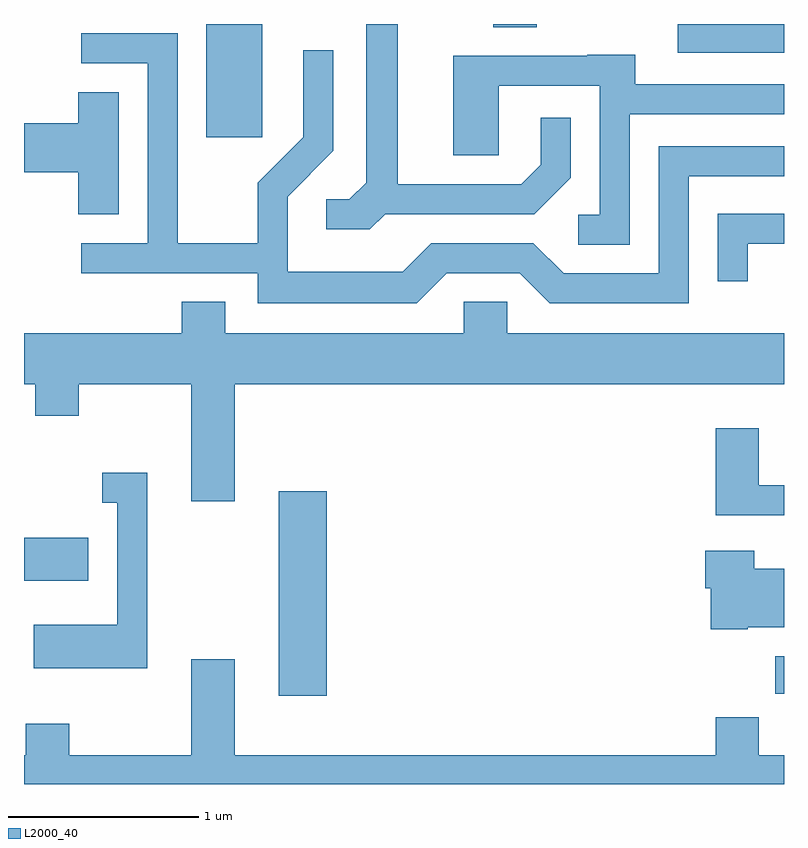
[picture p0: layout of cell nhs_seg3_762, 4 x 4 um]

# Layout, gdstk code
import gdstk
lib = gdstk.Library(unit=1e-6, precision=1e-09)
def R(c, l, rs):  # rectangles x0, y0, x1, y1
    for r in rs: c.add(gdstk.rectangle(r[:2], r[2:], *l))
def P(c, l, *ps):  # polygons
    for p in ps: c.add(gdstk.Polygon(p, *l))
L2000_40 = (2000, 40)

nhs_seg3_762 = lib.new_cell('nhs_seg3_762')
R(nhs_seg3_762, L2000_40, [(208.951,1144.356,209.204,1145.434), (211.566,1144.366,211.611,1144.564), (207.611,1144.961,207.949,1145.189), (208.571,1147.296,208.864,1147.892), (211.051,1147.741,211.611,1147.892), (210.081,1147.876,210.309,1147.892)])
P(nhs_seg3_762, L2000_40, [(209.512,1146.891),(210.297,1146.891),(210.489,1147.084),(210.489,1147.398),(210.331,1147.398),(210.331,1147.152),(210.229,1147.049),(209.579,1147.049),(209.579,1147.892),(209.411,1147.892),(209.411,1147.057),(209.324,1146.969),(209.203,1146.969),(209.203,1146.811),(209.432,1146.811)],
  [(209.837,1146.581),(210.219,1146.581),(210.379,1146.421),(211.109,1146.421),(211.109,1147.091),(211.611,1147.091),(211.611,1147.249),(210.951,1147.249),(210.951,1146.579),(210.452,1146.579),(210.292,1146.739),(209.754,1146.739),(209.604,1146.589),(208.999,1146.589),(208.999,1146.984),(209.239,1147.224),(209.239,1147.753),(209.081,1147.753),(209.081,1147.297),(208.841,1147.057),(208.841,1146.739),(208.419,1146.739),(208.419,1147.844),(207.913,1147.844),(207.913,1147.686),(208.261,1147.686),(208.261,1146.739),(207.913,1146.739),(207.913,1146.581),(208.841,1146.581),(208.841,1146.421),(209.677,1146.421)],
  [(210.799,1147.416),(211.611,1147.416),(211.611,1147.574),(210.829,1147.574),(210.829,1147.729),(210.575,1147.729),(210.575,1147.724),(209.871,1147.724),(209.871,1147.201),(210.109,1147.201),(210.109,1147.566),(210.641,1147.566),(210.641,1146.889),(210.528,1146.889),(210.528,1146.731),(210.799,1146.731)],
  [(208.109,1147.534),(207.896,1147.534),(207.896,1147.369),(207.611,1147.369),(207.611,1147.111),(207.896,1147.111),(207.896,1146.891),(208.109,1146.891)],
  [(211.419,1146.736),(211.611,1146.736),(211.611,1146.894),(211.261,1146.894),(211.261,1146.538),(211.419,1146.538)],
  [(208.719,1145.996),(211.611,1145.996),(211.611,1146.264),(210.154,1146.264),(210.154,1146.429),(209.926,1146.429),(209.926,1146.264),(208.669,1146.264),(208.669,1146.429),(208.441,1146.429),(208.441,1146.264),(207.611,1146.264),(207.611,1145.996),(207.671,1145.996),(207.671,1145.831),(207.899,1145.831),(207.899,1145.996),(208.491,1145.996),(208.491,1145.381),(208.719,1145.381)],
  [(211.611,1145.464),(211.479,1145.464),(211.479,1145.764),(211.251,1145.764),(211.251,1145.306),(211.611,1145.306)],
  [(208.259,1145.529),(208.023,1145.529),(208.023,1145.371),(208.101,1145.371),(208.101,1144.729),(207.661,1144.729),(207.661,1144.501),(208.259,1144.501)],
  [(211.42,1144.716),(211.611,1144.716),(211.611,1145.024),(211.454,1145.024),(211.454,1145.119),(211.196,1145.119),(211.196,1144.921),(211.226,1144.921),(211.226,1144.706),(211.42,1144.706)],
  [(211.611,1144.044),(211.479,1144.044),(211.479,1144.244),(211.251,1144.244),(211.251,1144.044),(208.719,1144.044),(208.719,1144.549),(208.491,1144.549),(208.491,1144.044),(207.849,1144.044),(207.849,1144.209),(207.621,1144.209),(207.621,1144.044),(207.611,1144.044),(207.611,1143.892),(211.611,1143.892)])

lib.write_gds('nhs_seg3_762.gds')
